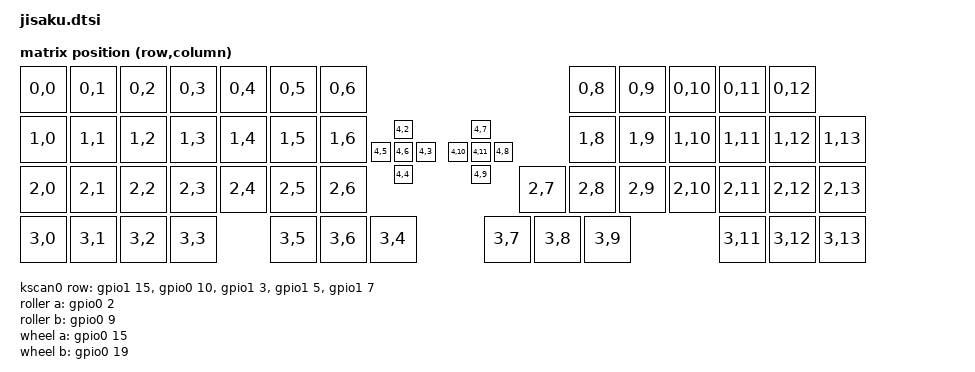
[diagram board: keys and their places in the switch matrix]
/*
 * Jisaku v3.9 (左右分割・無線・XIAO nRF52840 Plus)
 * 足の割り当ての正 = ergogen/v3_9/routed/{L,R}.kicad_pcb（2026-10-20 に線を引いた基板）
 * XIAO の D 番号と nRF の足:
 *   D0 P0.02 / D1 P0.03 / D2 P0.28 / D3 P0.29 / D4 P0.04 / D5 P0.05 / D6 P1.11 / D7 P1.12
 *   D8 P1.13 / D9 P1.14 / D10 P1.15 / D11 P0.15 / D12 P0.19 / D13 P1.01 / D14 P0.09 (NFC1)
 *   D15 P0.10 (NFC2) / D17 P1.03 / D18 P1.05 / D19 P1.07   (D16 P0.31 = 電池の電圧なので使わない)
 * 行列は COL2ROW（ダイオードは列 → 行）。行は両手とも同じ足:
 *   row1 D10 P1.15 / row2 D15 P0.10 / row3 D17 P1.03 / row4 D18 P1.05 / row5 D19 P1.07（5方向キー）
 * 列は左右の .overlay に書く。左の列番号 col1..7 → 0..6、右の col0..6 → 7..13（col-offset 7）。
 */

#include <dt-bindings/zmk/matrix_transform.h>
#include <physical_layouts.dtsi>

/ {
    chosen {
        zmk,physical-layout = &jisaku_layout;
    };

    /*
     * 並び（keymap の bindings の順）:
     *   1行目  左 c1..c7          | 右 c1..c5
     *   2行目  左 c1..c7          | 右 c1..c6
     *   3行目  左 c1..c7          | 右 c0..c6
     *   4行目  左 c1 c2 c3 c4 c6 c7 c8 | 右 親指 t1 t2 t3・c4 c5 c6
     *   5方向  左 FW1..FW5        | 右 FW1..FW5
     * 左 c7_r2 はキーかローラー CKW12 の押し込み（同じ升）。左 c8_r4 は列5につながる（c5_r4 はスティックの所で空き）。
     * 空いている升（左 r5c1 r5c2・右 r1c0 r1c6 r2c0 r4c3 r5c5 r5c6）は今は並びに入れていない。
     */
    default_transform: keymap_transform_0 {
        compatible = "zmk,matrix-transform";
        columns = <14>;
        rows = <5>;
        map = <
            RC(0,0) RC(0,1) RC(0,2) RC(0,3) RC(0,4) RC(0,5) RC(0,6) RC(0,8) RC(0,9) RC(0,10) RC(0,11) RC(0,12)
            RC(1,0) RC(1,1) RC(1,2) RC(1,3) RC(1,4) RC(1,5) RC(1,6) RC(1,8) RC(1,9) RC(1,10) RC(1,11) RC(1,12) RC(1,13)
            RC(2,0) RC(2,1) RC(2,2) RC(2,3) RC(2,4) RC(2,5) RC(2,6) RC(2,7) RC(2,8) RC(2,9) RC(2,10) RC(2,11) RC(2,12) RC(2,13)
            RC(3,0) RC(3,1) RC(3,2) RC(3,3) RC(3,5) RC(3,6) RC(3,4) RC(3,7) RC(3,8) RC(3,9) RC(3,11) RC(3,12) RC(3,13)
            RC(4,2) RC(4,3) RC(4,4) RC(4,5) RC(4,6) RC(4,7) RC(4,8) RC(4,9) RC(4,10) RC(4,11)
        >;
    };

    jisaku_layout: jisaku_layout {
        compatible = "zmk,physical-layout";
        display-name = "Jisaku v3.9";
        transform = <&default_transform>;
        kscan = <&kscan0>;
        /* 位置は基板の実寸（キーの間隔 横 18mm＝100・縦 17mm＝100）。5方向キーは小さい升で、向きは仮 */
        keys  //                     w   h     x    y  rot rx ry
            = <&key_physical_attrs 100 100     0    0  0 0 0>  /*  0 L c1_r1 */
            , <&key_physical_attrs 100 100   100    0  0 0 0>  /*  1 L c2_r1 */
            , <&key_physical_attrs 100 100   200    0  0 0 0>  /*  2 L c3_r1 */
            , <&key_physical_attrs 100 100   300    0  0 0 0>  /*  3 L c4_r1 */
            , <&key_physical_attrs 100 100   400    0  0 0 0>  /*  4 L c5_r1 */
            , <&key_physical_attrs 100 100   500    0  0 0 0>  /*  5 L c6_r1 */
            , <&key_physical_attrs 100 100   600    0  0 0 0>  /*  6 L c7_r1 */
            , <&key_physical_attrs 100 100  1098    0  0 0 0>  /*  7 R c1_r1 */
            , <&key_physical_attrs 100 100  1198    0  0 0 0>  /*  8 R c2_r1 */
            , <&key_physical_attrs 100 100  1298    0  0 0 0>  /*  9 R c3_r1 */
            , <&key_physical_attrs 100 100  1398    0  0 0 0>  /* 10 R c4_r1 */
            , <&key_physical_attrs 100 100  1498    0  0 0 0>  /* 11 R c5_r1 */
            , <&key_physical_attrs 100 100     0  100  0 0 0>  /* 12 L c1_r2 */
            , <&key_physical_attrs 100 100   100  100  0 0 0>  /* 13 L c2_r2 */
            , <&key_physical_attrs 100 100   200  100  0 0 0>  /* 14 L c3_r2 */
            , <&key_physical_attrs 100 100   300  100  0 0 0>  /* 15 L c4_r2 */
            , <&key_physical_attrs 100 100   400  100  0 0 0>  /* 16 L c5_r2 */
            , <&key_physical_attrs 100 100   500  100  0 0 0>  /* 17 L c6_r2 */
            , <&key_physical_attrs 100 100   600  100  0 0 0>  /* 18 L c7_r2 */
            , <&key_physical_attrs 100 100  1098  100  0 0 0>  /* 19 R c1_r2 */
            , <&key_physical_attrs 100 100  1198  100  0 0 0>  /* 20 R c2_r2 */
            , <&key_physical_attrs 100 100  1298  100  0 0 0>  /* 21 R c3_r2 */
            , <&key_physical_attrs 100 100  1398  100  0 0 0>  /* 22 R c4_r2 */
            , <&key_physical_attrs 100 100  1498  100  0 0 0>  /* 23 R c5_r2 */
            , <&key_physical_attrs 100 100  1598  100  0 0 0>  /* 24 R c6_r2 */
            , <&key_physical_attrs 100 100     0  200  0 0 0>  /* 25 L c1_r3 */
            , <&key_physical_attrs 100 100   100  200  0 0 0>  /* 26 L c2_r3 */
            , <&key_physical_attrs 100 100   200  200  0 0 0>  /* 27 L c3_r3 */
            , <&key_physical_attrs 100 100   300  200  0 0 0>  /* 28 L c4_r3 */
            , <&key_physical_attrs 100 100   400  200  0 0 0>  /* 29 L c5_r3 */
            , <&key_physical_attrs 100 100   500  200  0 0 0>  /* 30 L c6_r3 */
            , <&key_physical_attrs 100 100   600  200  0 0 0>  /* 31 L c7_r3 */
            , <&key_physical_attrs 100 100   998  200  0 0 0>  /* 32 R c0_r3 */
            , <&key_physical_attrs 100 100  1098  200  0 0 0>  /* 33 R c1_r3 */
            , <&key_physical_attrs 100 100  1198  200  0 0 0>  /* 34 R c2_r3 */
            , <&key_physical_attrs 100 100  1298  200  0 0 0>  /* 35 R c3_r3 */
            , <&key_physical_attrs 100 100  1398  200  0 0 0>  /* 36 R c4_r3 */
            , <&key_physical_attrs 100 100  1498  200  0 0 0>  /* 37 R c5_r3 */
            , <&key_physical_attrs 100 100  1598  200  0 0 0>  /* 38 R c6_r3 */
            , <&key_physical_attrs 100 100     0  300  0 0 0>  /* 39 L c1_r4 */
            , <&key_physical_attrs 100 100   100  300  0 0 0>  /* 40 L c2_r4 */
            , <&key_physical_attrs 100 100   200  300  0 0 0>  /* 41 L c3_r4 */
            , <&key_physical_attrs 100 100   300  300  0 0 0>  /* 42 L c4_r4 */
            , <&key_physical_attrs 100 100   500  300  0 0 0>  /* 43 L c6_r4 */
            , <&key_physical_attrs 100 100   600  300  0 0 0>  /* 44 L c7_r4 */
            , <&key_physical_attrs 100 100   700  300  0 0 0>  /* 45 L c8_r4 */
            , <&key_physical_attrs 100 100   929  300  0 0 0>  /* 46 R t1_r4 */
            , <&key_physical_attrs 100 100  1029  300  0 0 0>  /* 47 R t2_r4 */
            , <&key_physical_attrs 100 100  1129  300  0 0 0>  /* 48 R t3_r4 */
            , <&key_physical_attrs 100 100  1398  300  0 0 0>  /* 49 R c4_r4 */
            , <&key_physical_attrs 100 100  1498  300  0 0 0>  /* 50 R c5_r4 */
            , <&key_physical_attrs 100 100  1598  300  0 0 0>  /* 51 R c6_r4 */
            , <&key_physical_attrs  45  45   748  108  0 0 0>  /* 52 L FW1 */
            , <&key_physical_attrs  45  45   793  153  0 0 0>  /* 53 L FW2 */
            , <&key_physical_attrs  45  45   748  198  0 0 0>  /* 54 L FW3 */
            , <&key_physical_attrs  45  45   703  153  0 0 0>  /* 55 L FW4 */
            , <&key_physical_attrs  45  45   748  153  0 0 0>  /* 56 L FW5 */
            , <&key_physical_attrs  45  45   903  108  0 0 0>  /* 57 R FW1 */
            , <&key_physical_attrs  45  45   948  153  0 0 0>  /* 58 R FW2 */
            , <&key_physical_attrs  45  45   903  198  0 0 0>  /* 59 R FW3 */
            , <&key_physical_attrs  45  45   858  153  0 0 0>  /* 60 R FW4 */
            , <&key_physical_attrs  45  45   903  153  0 0 0>  /* 61 R FW5 */
            ;
    };

    kscan0: kscan0 {
        compatible = "zmk,kscan-gpio-matrix";
        diode-direction = "col2row";
        wakeup-source;
        row-gpios
            = <&gpio1 15 (GPIO_ACTIVE_HIGH | GPIO_PULL_DOWN)>   /* row1 D10 */
            , <&gpio0 10 (GPIO_ACTIVE_HIGH | GPIO_PULL_DOWN)>   /* row2 D15 (NFC2) */
            , <&gpio1  3 (GPIO_ACTIVE_HIGH | GPIO_PULL_DOWN)>   /* row3 D17 */
            , <&gpio1  5 (GPIO_ACTIVE_HIGH | GPIO_PULL_DOWN)>   /* row4 D18 */
            , <&gpio1  7 (GPIO_ACTIVE_HIGH | GPIO_PULL_DOWN)>   /* row5 D19 = 5方向キーの共通 */
            ;
    };

    /* 左だけで使う2つ（右では disabled のまま） */
    roller: roller {
        compatible = "alps,ec11";
        a-gpios = <&gpio0 2 (GPIO_ACTIVE_HIGH | GPIO_PULL_UP)>;   /* D0 ROL_A */
        b-gpios = <&gpio0 9 (GPIO_ACTIVE_HIGH | GPIO_PULL_UP)>;   /* D14 ROL_B */
        steps = <12>;   /* roBa（CKW12 の作者）と同じ */
        status = "disabled";
    };

    wheel: wheel {
        compatible = "alps,ec11";
        a-gpios = <&gpio0 15 (GPIO_ACTIVE_HIGH | GPIO_PULL_UP)>;  /* D11 EVQ_A */
        b-gpios = <&gpio0 19 (GPIO_ACTIVE_HIGH | GPIO_PULL_UP)>;  /* D12 EVQ_B */
        steps = <30>;   /* MeKaBu と同じ 3パルスで1回 */
        status = "disabled";
    };

    sensors: sensors {
        compatible = "zmk,keymap-sensors";
        sensors = <&roller &wheel>;
        triggers-per-rotation = <10>;
    };

    /* 左のスティックを右（親）へ送る口 */
    split_inputs {
        #address-cells = <1>;
        #size-cells = <0>;

        stick_split: stick_split@0 {
            compatible = "zmk,input-split";
            reg = <0>;
        };
    };
};

/* 行列と重なる足を使う既定の口を止める */
&uart0 { status = "disabled"; };   /* D6 D7 = 列 */
&i2c0 { status = "disabled"; };    /* D4 D5 = スティック / 玉のセンサー */
&spi2 { status = "disabled"; };    /* D8 D9 D10 = 列と行 */
